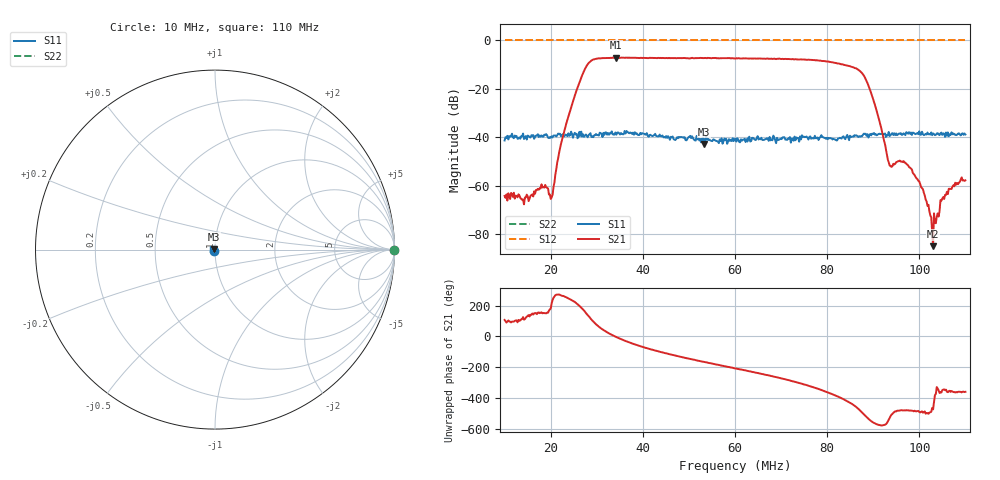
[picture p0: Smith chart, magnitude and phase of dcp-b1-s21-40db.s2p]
! Anritsu VNA Master:  Model: MS2034B/10/19/501
! SN:  1337062
! /bd0/ovro-jan-2016/dcp-b1-s21-40db.s2p
! Existing Calibration Information:
! TYPE:  Current Settings,  Active Cal Settings
! TIME:  01/09/2016 05:41:28 PM,  01/09/2016 12:40:35 PM
! INTERNAL TEMP:  41.5 C,  41.8 C
! # POINTS:  500,  500
! START FREQ:  10.000 MHz,  10.000 MHz
! STOP FREQ:  110.000 MHz,  110.000 MHz
! SOURCE POWER:  Low,  Low
! IFBW:  100 Hz,  100 Hz
! AVG FACTOR:  3 ,  3
! REF PLANE 1:  2.2245 m,  2.2245 m
! REF PLANE 2:  0 mm,  0 mm
! CAL TYPE:  1P2P S11,S21,  1P2P S11,S21
! CAL METHOD:  SOLT,  SOLT
! CAL LINE TYPE:  Coax,  Coax
! DUT PORT 1:  K-Conn(M),  K-Conn(M)
! DUT PORT 2:  N-Conn(M),  N-Conn(M)
! CAL STATUS:  OK: Accuracy High,  --
# GHZ S DB R 50.0
! FREQ.GHZ  S11DB  S11A  S21DB  S21A  S12DB  S12A  S22DB  S22A
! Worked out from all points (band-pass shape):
!   500 points, 10 MHz to 110 MHz, reference 50 ohm
!   highest |S21| = -7.06 dB at 34.25 MHz (marker M1); lowest = -85.1 dB at 103 MHz (marker M2)
!   |S21| within 3 dB of the highest: 27.96 MHz to 83.64 MHz (55.68 MHz wide, 99.8 % of centre)
!   lowest |S11| = -42.8 dB at 53.29 MHz (marker M3), VSWR 1.01, Z = 49.3 + j0.0662 ohm
!   |S11| at or under -10 dB: start of sweep to end of sweep
!   |S22| runs from 0.0 to 0.0 dB; largest |S21 - S12| = 1.4
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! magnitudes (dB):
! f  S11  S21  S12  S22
! 10 MHz  -41.4  -64.3  0.0  0.0
! 14.01 MHz  -38.5  -65.7  0.0  0.0
! 18.42 MHz  -39.8  -60.5  0.0  0.0
! 20.02 MHz  -40.2  -65.5  0.0  0.0
! 20.42 MHz  -40.1  -63.7  0.0  0.0
! 22.63 MHz  -38.7  -39.8  0.0  0.0
! 26.83 MHz  -39.8  -14.4  0.0  0.0
! 29.04 MHz  -39.6  -8.1  0.0  0.0
! 34.25 MHz  -39.0  -7.1  0.0  0.0
! 43.47 MHz  -39.6  -7.2  0.0  0.0
! 53.29 MHz  -42.8  -7.3  0.0  0.0
! 60.1 MHz  -40.7  -7.5  0.0  0.0
! 76.73 MHz  -40.5  -8.1  0.0  0.0
! 84.55 MHz  -39.9  -10.5  0.0  0.0
! 87.76 MHz  -39.0  -14.0  0.0  0.0
! 90.56 MHz  -38.8  -28.0  0.0  0.0
! 93.37 MHz  -37.8  -50.4  0.0  0.0
! 97.98 MHz  -38.6  -52.6  0.0  0.0
! 100.4 MHz  -39.0  -60.6  0.0  0.0
! 103 MHz  -38.4  -85.1  0.0  0.0
! 106 MHz  -39.4  -62.6  0.0  0.0
! 110 MHz  -38.9  -57.8  0.0  0.0
